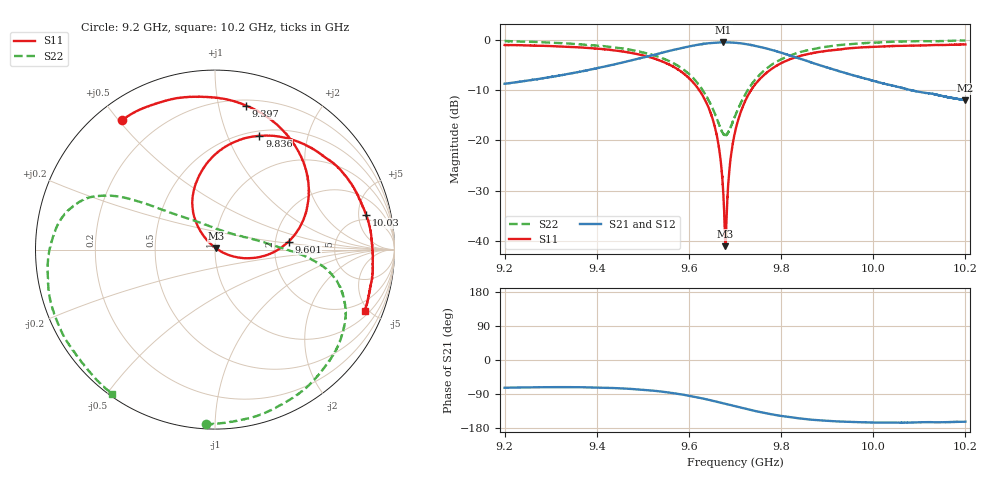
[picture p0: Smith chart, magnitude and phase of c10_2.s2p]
!Agilent Technologies,N5242A,MY51221714,A.09.90.19
!Agilent N5242A: A.09.90.19
!Date: Saturday, December 30, 2023 10:38:30
!Correction: S11(Full 2 Port(1,2))
!S21(Full 2 Port(1,2))
!S12(Full 2 Port(1,2))
!S22(Full 2 Port(1,2))
!S2P File: Measurements: S11, S21, S12, S22:
# Hz S  dB  R 50
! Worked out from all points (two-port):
!   16001 points, 9.2 GHz to 10.2 GHz, reference 50 ohm
!   highest |S21| = -0.48 dB at 9.675 GHz (marker M1); lowest = -12.0 dB at 10.2 GHz (marker M2)
!   |S21| within 3 dB of the highest: 9.501937 GHz to 9.501938 GHz (121.4 Hz wide, 1.28e-06 % of centre); 9.502 GHz to 9.832 GHz (329.6 MHz wide, 3.41 % of centre)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
!   lowest |S11| = -41.1 dB at 9.679 GHz (marker M3), VSWR 1.02, Z = 50.6 + j0.635 ohm
!   |S11| at or under -10 dB: 9.622 GHz to 9.735 GHz (112.6 MHz wide, 1.16 % of centre)
!   |S22| runs from -19.0 to -0.1 dB; largest |S21 - S12| = 0.015
!   S11 on the Smith chart (normalised r, x): 9.2 GHz: 0.07, +0.51; 9.397 GHz: 0.25, +1.21; 9.601 GHz: 2.37, +0.26; 9.836 GHz: 0.56, +1.31; 10.03 GHz: 4.10, +6.18; 10.2 GHz: 1.29, -4.71
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9.2e9  -1.03 125.8  -8.73 -73.2  -8.72 -74.0  -0.22 -93.1
9.366688e9  -1.51 86.1  -6.28 -71.8  -6.26 -72.6  -0.92 -48.7
9.397188e9  -1.72 77.8  -5.70 -72.5  -5.68 -73.3  -1.11 -41.0
9.533375e9  -3.99 34.3  -2.76 -82.4  -2.75 -83.0  -3.36 -13.0
9.601125e9  -7.70 6.2  -1.29 -94.5  -1.29 -95.2  -6.89 -2.3
9.632312e9  -11.51 -8.0  -0.78 -102.1  -0.78 -102.9  -10.40 5.8
9.653875e9  -16.50 -17.9  -0.57 -108.2  -0.56 -108.9  -14.14 19.2
9.667375e9  -22.95 -21.5  -0.51 -112.1  -0.49 -112.8  -17.35 38.6
9.674875e9  -30.92 -12.5  -0.48 -114.4  -0.48 -115.1  -18.75 59.0
9.679125e9  -41.07 45.1  -0.49 -115.7  -0.47 -116.4  -18.97 72.2
9.682375e9  -33.74 114.7  -0.49 -116.7  -0.47 -117.3  -18.79 82.6
9.690312e9  -23.70 130.0  -0.51 -119.1  -0.50 -119.9  -17.41 103.7
9.7e9  -18.42 128.5  -0.57 -122.0  -0.54 -122.8  -15.20 119.5
9.719312e9  -12.77 121.3  -0.78 -127.8  -0.74 -128.6  -11.35 136.1
9.746375e9  -8.55 107.3  -1.24 -135.3  -1.22 -136.1  -7.64 144.8
9.836062e9  -3.35 68.7  -3.59 -153.5  -3.59 -154.3  -2.58 156.7
9.866688e9  -2.65 57.7  -4.52 -157.6  -4.52 -158.3  -1.89 160.9
9.95e9  -1.66 33.0  -6.88 -163.4  -6.87 -164.1  -0.85 175.9
1.003075e10  -1.28 12.9  -8.87 -165.2  -8.86 -165.9  -0.41 -166.6
1.003338e10  -1.26 12.3  -8.92 -165.1  -8.92 -166.0  -0.41 -166.1
1.019919e10  -0.91 -22.3  -12.00 -162.8  -11.98 -163.7  -0.13 -125.6
1.02e10  -0.90 -22.4  -12.00 -162.9  -11.99 -163.8  -0.12 -125.4
